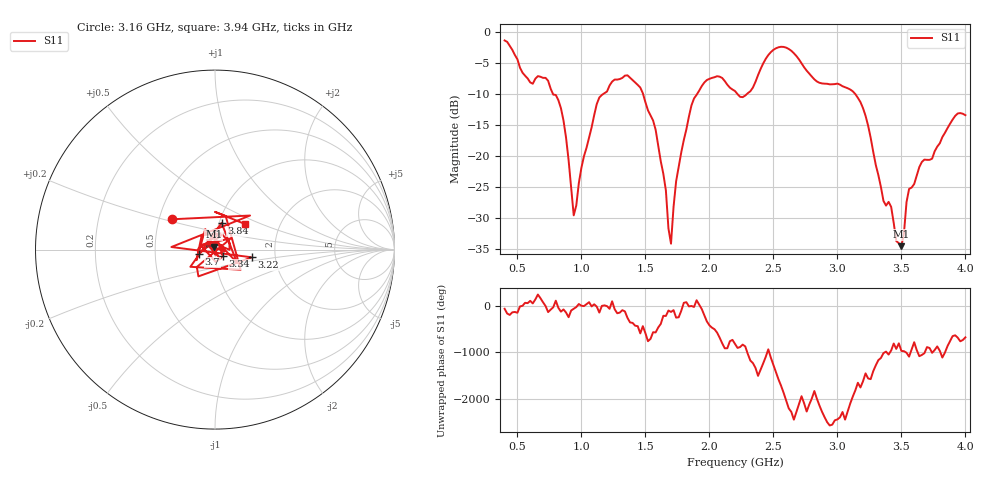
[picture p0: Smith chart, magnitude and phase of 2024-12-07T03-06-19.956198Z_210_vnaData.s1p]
!Created with skrf (http://scikit-rf.org).
# Hz S RI R 50.0
!freq ReS11 ImS11
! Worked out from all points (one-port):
!   181 points, 400 MHz to 4 GHz, reference 50 ohm
!   lowest |S11| = -34.6 dB at 3.5 GHz (marker M1), VSWR 1.04, Z = 49.3 + j1.69 ohm
!   |S11| at or under -10 dB: 778.1 MHz to 1.17 GHz (392.1 MHz wide, 40.2 % of centre); 1.482 GHz to 1.904 GHz (422 MHz wide, 24.9 % of centre); 3.14 GHz to end of sweep (the widest 3 of 4)
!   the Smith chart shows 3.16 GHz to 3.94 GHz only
!   S11 on the Smith chart (normalised r, x): 3.16 GHz: 0.58, +0.22; 3.22 GHz: 1.51, -0.14; 3.34 GHz: 1.09, -0.08; 3.7 GHz: 0.83, -0.04; 3.84 GHz: 1.03, +0.31; 3.94 GHz: 1.34, +0.40
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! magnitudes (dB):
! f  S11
! 400 MHz  -1.3
! 600 MHz  -8.1
! 740 MHz  -7.9
! 860 MHz  -14.3
! 940 MHz  -29.6
! 1.12 GHz  -11.6
! 1.3 GHz  -7.6
! 1.46 GHz  -9.0
! 1.56 GHz  -14.3
! 1.66 GHz  -25.6
! 1.7 GHz  -34.2
! 1.76 GHz  -21.8
! 1.86 GHz  -11.8
! 1.96 GHz  -8.1
! 2.2 GHz  -9.5
! 2.32 GHz  -9.6
! 2.5 GHz  -2.8
! 2.66 GHz  -3.4
! 3.1 GHz  -9.3
! 3.16 GHz  -10.6
! 3.22 GHz  -13.5
! 3.34 GHz  -25.0
! 3.5 GHz  -34.6
! 3.56 GHz  -25.4
! 3.7 GHz  -20.6
! 3.84 GHz  -16.3
! 3.94 GHz  -13.1
! 4 GHz  -13.4
